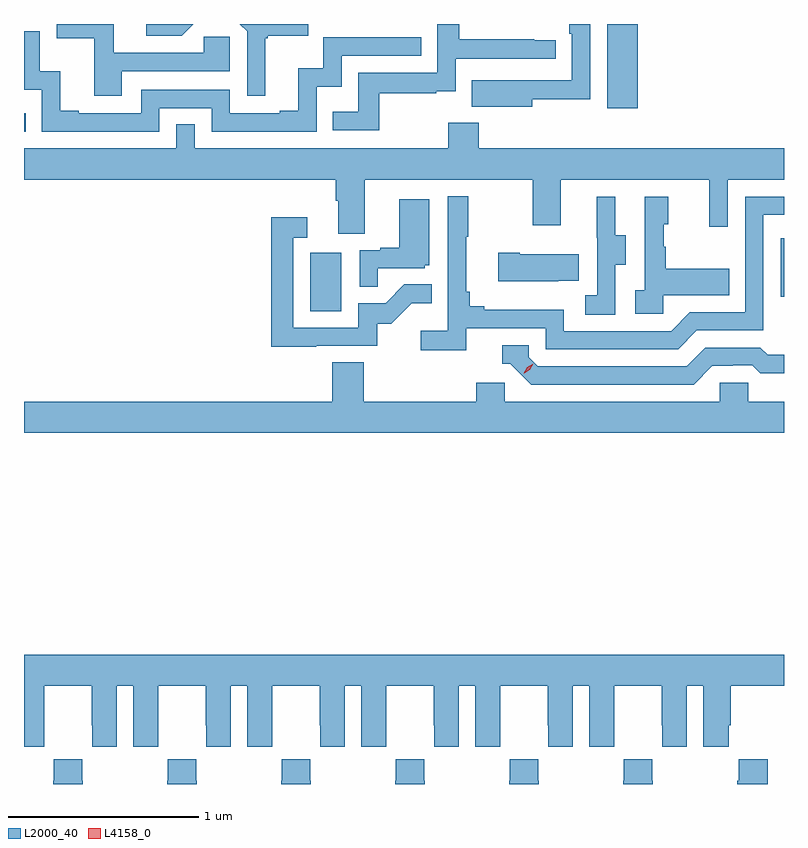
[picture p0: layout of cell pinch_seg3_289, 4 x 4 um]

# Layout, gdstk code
import gdstk
lib = gdstk.Library(unit=1e-6, precision=1e-09)
def R(c, l, rs):  # rectangles x0, y0, x1, y1
    for r in rs: c.add(gdstk.rectangle(r[:2], r[2:], *l))
def P(c, l, *ps):  # polygons
    for p in ps: c.add(gdstk.Polygon(p, *l))
L2000_40 = (2000, 40)
L4158_0 = (4158, 0)

pinch_seg3_289 = lib.new_cell('pinch_seg3_289')
R(pinch_seg3_289, L2000_40, [(912.794,722.868,912.958,723.175), (915.27,722.943,915.288,723.252), (911.288,723.813,911.297,723.909), (914.357,723.936,914.518,724.379)])
P(pinch_seg3_289, L2000_40, [(913.159,724.014),(913.457,724.014),(913.457,724.025),(913.56,724.025),(913.56,724.197),(914.086,724.197),(914.086,724.293),(913.973,724.293),(913.973,724.298),(913.58,724.298),(913.58,724.379),(913.464,724.379),(913.464,724.122),(913.048,724.122),(913.048,723.916),(912.913,723.916),(912.913,723.819),(913.159,723.819)],
  [(913.963,723.982),(914.268,723.982),(914.268,724.379),(914.159,724.379),(914.159,724.328),(914.172,724.328),(914.172,724.083),(913.859,724.083),(913.859,724.084),(913.645,724.084),(913.645,723.944),(913.963,723.944)],
  [(912.559,724.305),(912.571,724.305),(912.571,724.316),(912.784,724.316),(912.784,724.379),(912.424,724.379),(912.462,724.341),(912.462,724.002),(912.559,724.002)],
  [(912.18,724.379),(911.931,724.379),(911.931,724.317),(912.118,724.317)],
  [(911.803,724.131),(912.372,724.131),(912.372,724.311),(912.235,724.311),(912.235,724.227),(911.761,724.227),(911.761,724.379),(911.46,724.379),(911.46,724.305),(911.659,724.305),(911.659,724.002),(911.803,724.002)],
  [(912,723.936),(912.276,723.936),(912.276,723.813),(912.828,723.813),(912.828,724.049),(912.96,724.049),(912.96,724.212),(913.379,724.212),(913.379,724.308),(912.864,724.308),(912.864,724.147),(912.731,724.147),(912.731,723.922),(912.635,723.922),(912.635,723.909),(912.372,723.909),(912.372,724.032),(911.904,724.032),(911.904,723.909),(911.575,723.909),(911.575,723.922),(911.48,723.922),(911.48,724.13),(911.37,724.13),(911.37,724.342),(911.288,724.342),(911.288,724.032),(911.382,724.032),(911.382,723.813),(912,723.813)],
  [(913.081,723.56),(913.966,723.56),(913.966,723.321),(914.113,723.321),(914.113,723.56),(914.894,723.56),(914.894,723.312),(914.991,723.312),(914.991,723.56),(915.288,723.56),(915.288,723.724),(913.682,723.724),(913.682,723.859),(913.522,723.859),(913.522,723.724),(912.186,723.724),(912.186,723.851),(912.09,723.851),(912.09,723.724),(911.288,723.724),(911.288,723.56),(912.929,723.56),(912.929,723.448),(912.941,723.448),(912.941,723.274),(913.081,723.274)],
  [(913.616,722.778),(914.034,722.778),(914.034,722.667),(914.731,722.667),(914.83,722.766),(915.18,722.766),(915.18,723.375),(915.288,723.375),(915.288,723.471),(915.084,723.471),(915.084,722.862),(914.793,722.862),(914.694,722.763),(914.13,722.763),(914.13,722.875),(913.711,722.875),(913.711,722.894),(913.634,722.894),(913.634,722.971),(913.615,722.971),(913.615,723.259),(913.627,723.259),(913.627,723.472),(913.518,723.472),(913.518,722.764),(913.377,722.764),(913.377,722.662),(913.616,722.662)],
  [(914.4,723.112),(914.455,723.112),(914.455,723.267),(914.401,723.267),(914.401,723.469),(914.303,723.469),(914.303,723.255),(914.304,723.255),(914.304,722.951),(914.241,722.951),(914.241,722.848),(914.4,722.848)],
  [(914.652,722.951),(914.999,722.951),(914.999,723.091),(914.665,723.091),(914.665,723.206),(914.655,723.206),(914.655,723.324),(914.68,723.324),(914.68,723.469),(914.556,723.469),(914.556,722.978),(914.505,722.978),(914.505,722.853),(914.652,722.853)],
  [(913.151,723.093),(913.398,723.093),(913.398,723.108),(913.42,723.108),(913.42,723.457),(913.262,723.457),(913.262,723.202),(913.163,723.202),(913.163,723.189),(913.056,723.189),(913.056,722.995),(913.151,722.995)],
  [(912.827,722.685),(913.146,722.685),(913.146,722.802),(913.222,722.802),(913.329,722.909),(913.433,722.909),(913.433,723.008),(913.289,723.008),(913.191,722.91),(913.047,722.91),(913.047,722.781),(912.705,722.781),(912.705,723.255),(912.778,723.255),(912.778,723.361),(912.589,723.361),(912.589,722.68),(912.827,722.68)],
  [(914.099,723.029),(914.207,723.029),(914.207,723.166),(913.897,723.166),(913.897,723.174),(913.785,723.174),(913.785,723.026),(914.099,723.026)],
  [(914.911,722.58),(915.018,722.58),(915.018,722.583),(915.121,722.583),(915.163,722.541),(915.288,722.541),(915.288,722.637),(915.202,722.637),(915.163,722.676),(914.874,722.676),(914.775,722.577),(913.992,722.577),(913.944,722.625),(913.944,722.688),(913.805,722.688),(913.805,722.592),(913.848,722.592),(913.959,722.481),(914.812,722.481)],
  [(915.288,722.392),(915.099,722.392),(915.099,722.49),(914.949,722.49),(914.949,722.392),(913.818,722.392),(913.818,722.49),(913.667,722.49),(913.667,722.392),(913.076,722.392),(913.076,722.6),(912.911,722.6),(912.911,722.392),(911.288,722.392),(911.288,722.228),(915.288,722.228)],
  [(911.394,720.688),(911.395,720.688),(911.395,720.896),(911.645,720.896),(911.645,720.688),(911.646,720.688),(911.646,720.576),(911.776,720.576),(911.776,720.896),(911.864,720.896),(911.864,720.576),(911.994,720.576),(911.994,720.688),(911.995,720.688),(911.995,720.896),(912.245,720.896),(912.245,720.688),(912.246,720.688),(912.246,720.576),(912.376,720.576),(912.376,720.896),(912.464,720.896),(912.464,720.576),(912.594,720.576),(912.594,720.688),(912.595,720.688),(912.595,720.896),(912.845,720.896),(912.845,720.688),(912.846,720.688),(912.846,720.576),(912.976,720.576),(912.976,720.896),(913.064,720.896),(913.064,720.576),(913.194,720.576),(913.194,720.688),(913.195,720.688),(913.195,720.896),(913.445,720.896),(913.445,720.688),(913.446,720.688),(913.446,720.576),(913.576,720.576),(913.576,720.896),(913.664,720.896),(913.664,720.576),(913.794,720.576),(913.794,720.688),(913.795,720.688),(913.795,720.896),(914.045,720.896),(914.045,720.688),(914.046,720.688),(914.046,720.576),(914.176,720.576),(914.176,720.896),(914.264,720.896),(914.264,720.576),(914.394,720.576),(914.394,720.688),(914.395,720.688),(914.395,720.896),(914.645,720.896),(914.645,720.688),(914.646,720.688),(914.646,720.576),(914.776,720.576),(914.776,720.896),(914.864,720.896),(914.864,720.576),(914.998,720.576),(914.998,720.688),(915.008,720.688),(915.008,720.896),(915.288,720.896),(915.288,721.06),(911.288,721.06),(911.288,720.576),(911.394,720.576)],
  [(915.203,720.508),(915.049,720.508),(915.049,720.395),(915.043,720.395),(915.043,720.379),(915.203,720.379)],
  [(914.598,720.395),(914.595,720.395),(914.595,720.508),(914.445,720.508),(914.445,720.395),(914.443,720.395),(914.443,720.379),(914.598,720.379)],
  [(913.998,720.395),(913.995,720.395),(913.995,720.508),(913.845,720.508),(913.845,720.395),(913.843,720.395),(913.843,720.379),(913.998,720.379)],
  [(913.398,720.395),(913.395,720.395),(913.395,720.508),(913.245,720.508),(913.245,720.395),(913.243,720.395),(913.243,720.379),(913.398,720.379)],
  [(912.798,720.395),(912.795,720.395),(912.795,720.508),(912.645,720.508),(912.645,720.395),(912.643,720.395),(912.643,720.379),(912.798,720.379)],
  [(911.598,720.395),(911.595,720.395),(911.595,720.508),(911.445,720.508),(911.445,720.395),(911.443,720.395),(911.443,720.379),(911.598,720.379)],
  [(912.045,720.508),(912.045,720.395),(912.043,720.395),(912.043,720.379),(912.198,720.379),(912.198,720.395),(912.195,720.395),(912.195,720.508)])
P(pinch_seg3_289, L4158_0, [(913.919,722.54),(913.919,722.541),(913.936,722.573),(913.967,722.592),(913.967,722.592),(913.967,722.591),(913.95,722.559),(913.92,722.54)])

lib.write_gds('pinch_seg3_289.gds')
